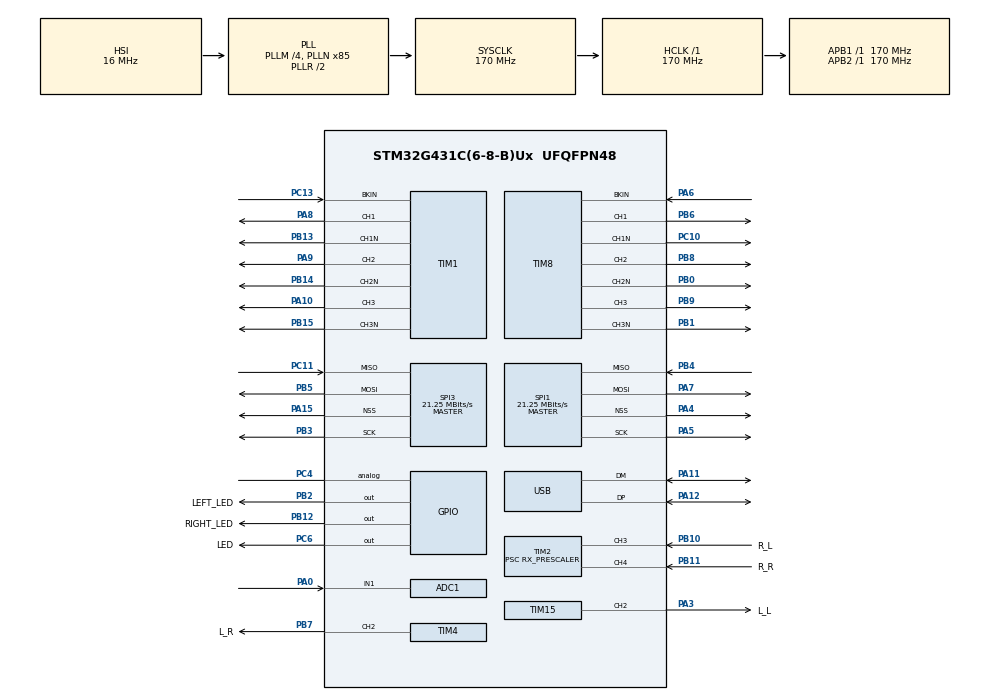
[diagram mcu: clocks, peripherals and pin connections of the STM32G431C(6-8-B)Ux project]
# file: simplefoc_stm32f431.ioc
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ADC1.Channel-2\#ChannelRegularConversion=ADC_CHANNEL_1
ADC1.NbrOfConversionFlag=1
ADC1.OffsetNumber-2\#ChannelRegularConversion=ADC_OFFSET_NONE
ADC1.Rank-2\#ChannelRegularConversion=1
ADC1.SamplingTime-2\#ChannelRegularConversion=ADC_SAMPLETIME_2CYCLES_5
ADC1.master=1
Mcu.Family=STM32G4
Mcu.Name=STM32G431C(6-8-B)Ux
Mcu.Package=UFQFPN48
Mcu.UserConstants=RX_COUNT_PERIOD,65535;PWM_FREQUENCY,20000;RX_PRESCALER,7;PWM_COUNT_PERIOD,(TIM_CLK_MHz*1000000/PWM_FREQUENCY/(PWM_PRESCALER + 1)/2-1);MOS_DEADTIME,30;TIM_CLK_MHz,170;PWM_PRESCALER,0;TX_COUNT_PERIOD,(TIM_CLK_MHz*1000000/TX_FREQUENCY/(TX_PRESCALER + 1)-1);TX_PRESCALER,170-1;TX_FREQUENCY,500;ISR_PRESCALER,170-1;ISR_COUNT_PERIOD,(TIM_CLK_MHz*1000000/ISR_FREQUENCY/(ISR_PRESCALER + 1)-1);ISR_FREQUENCY,1000
NVIC.PriorityGroup=NVIC_PRIORITYGROUP_4
NVIC.SPI1_IRQn=true\:0\:0\:false\:false\:true\:true\:true\:true
NVIC.TIM1_UP_TIM16_IRQn=true\:0\:0\:false\:false\:true\:true\:true\:true
NVIC.TIM2_IRQn=true\:0\:0\:false\:false\:true\:true\:true\:true
NVIC.TIM6_DAC_IRQn=true\:0\:0\:false\:false\:true\:true\:true\:true
NVIC.TIM8_BRK_IRQn=true\:0\:0\:false\:false\:true\:true\:true\:true
NVIC.TIM8_UP_IRQn=true\:0\:0\:false\:false\:true\:true\:true\:true
NVIC.USB_LP_IRQn=true\:0\:0\:false\:false\:true\:false\:true\:true
PA0.Mode=IN1-Single-Ended
PA0.Signal=ADC1_IN1
PA10.Signal=S_TIM1_CH3
PA11.Mode=Device
PA11.Signal=USB_DM
PA12.Mode=Device
PA12.Signal=USB_DP
PA13.Mode=Serial_Wire
PA13.Signal=SYS_JTMS-SWDIO
PA14.Mode=Serial_Wire
PA14.Signal=SYS_JTCK-SWCLK
PA15.GPIO_PuPd=GPIO_PULLUP
PA15.GPIO_Speed=GPIO_SPEED_FREQ_VERY_HIGH
PA15.Mode=NSS_Signal_Hard_Output
PA15.Signal=SPI3_NSS
PA3.GPIO_Label=L_L
PA3.GPIO_PuPd=GPIO_NOPULL
PA3.Signal=S_TIM15_CH2
PA4.GPIO_PuPd=GPIO_PULLUP
PA4.GPIO_Speed=GPIO_SPEED_FREQ_VERY_HIGH
PA4.Mode=NSS_Signal_Hard_Output
PA4.Signal=SPI1_NSS
PA5.GPIO_Speed=GPIO_SPEED_FREQ_VERY_HIGH
PA5.Mode=Full_Duplex_Master
PA5.Signal=SPI1_SCK
PA6.GPIO_PuPd=GPIO_PULLUP
PA6.Mode=Activate-Break-Input
PA6.Signal=TIM8_BKIN
PA7.GPIO_Speed=GPIO_SPEED_FREQ_VERY_HIGH
PA7.Mode=Full_Duplex_Master
PA7.Signal=SPI1_MOSI
PA8.Signal=S_TIM1_CH1
PA9.Signal=S_TIM1_CH2
PB0.Mode=PWM Generation2 CH2 CH2N
PB0.Signal=TIM8_CH2N
PB1.Mode=PWM Generation3 CH3 CH3N
PB1.Signal=TIM8_CH3N
PB10.GPIO_Label=R_L
PB10.GPIO_PuPd=GPIO_NOPULL
PB10.GPIO_Speed=GPIO_SPEED_FREQ_LOW
PB10.Signal=S_TIM2_CH3
PB11.GPIO_Label=R_R
PB11.GPIO_PuPd=GPIO_NOPULL
PB11.GPIO_Speed=GPIO_SPEED_FREQ_LOW
PB11.Signal=S_TIM2_CH4
PB12.GPIO_Label=RIGHT_LED
PB12.GPIO_PuPd=GPIO_PULLUP
PB12.GPIO_Speed=GPIO_SPEED_FREQ_LOW
PB12.Signal=GPIO_Output
PB13.Mode=PWM Generation1 CH1 CH1N
PB13.Signal=TIM1_CH1N
PB14.Mode=PWM Generation2 CH2 CH2N
PB14.Signal=TIM1_CH2N
PB15.Mode=PWM Generation3 CH3 CH3N
PB15.Signal=TIM1_CH3N
PB2.GPIO_Label=LEFT_LED
PB2.GPIO_PuPd=GPIO_PULLUP
PB2.GPIO_Speed=GPIO_SPEED_FREQ_LOW
PB2.Signal=GPIO_Output
PB3.Mode=Full_Duplex_Master
PB3.Signal=SPI3_SCK
PB4.GPIO_Speed=GPIO_SPEED_FREQ_VERY_HIGH
PB4.Mode=Full_Duplex_Master
PB4.Signal=SPI1_MISO
PB5.GPIO_Speed=GPIO_SPEED_FREQ_VERY_HIGH
PB5.Mode=Full_Duplex_Master
PB5.Signal=SPI3_MOSI
PB6.Signal=S_TIM8_CH1
PB7.GPIO_Label=L_R
PB7.GPIO_PuPd=GPIO_NOPULL
PB7.Signal=S_TIM4_CH2
PB8-BOOT0.Signal=S_TIM8_CH2
PB9.Signal=S_TIM8_CH3
PC10.Mode=PWM Generation1 CH1 CH1N
PC10.Signal=TIM8_CH1N
PC11.Mode=Full_Duplex_Master
PC11.Signal=SPI3_MISO
PC13.GPIO_PuPd=GPIO_PULLUP
PC13.Mode=Activate-Break-Input
PC13.Signal=TIM1_BKIN
PC4.Signal=GPIO_Analog
PC6.GPIO_Label=LED
PC6.GPIO_PuPd=GPIO_PULLUP
PC6.GPIO_Speed=GPIO_SPEED_FREQ_LOW
PC6.PinState=GPIO_PIN_SET
PC6.Signal=GPIO_Output
PF0-OSC_IN.Mode=HSE-External-Oscillator
PF0-OSC_IN.Signal=RCC_OSC_IN
PF1-OSC_OUT.Mode=HSE-External-Oscillator
PF1-OSC_OUT.Signal=RCC_OSC_OUT
ProjectManager.HeapSize=0x200
ProjectManager.StackSize=0x400
ProjectManager.TargetToolchain=CMake
RCC.ADC12Freq_Value=170000000
RCC.AHBFreq_Value=170000000
RCC.APB1Freq_Value=170000000
RCC.APB1TimFreq_Value=170000000
RCC.APB2Freq_Value=170000000
RCC.APB2TimFreq_Value=170000000
RCC.CK48CLockSelection=RCC_USBCLKSOURCE_HSI48
RCC.CortexFreq_Value=170000000
RCC.EXTERNAL_CLOCK_VALUE=12288000
RCC.HCLKFreq_Value=170000000
RCC.HSE_VALUE=8000000
RCC.HSI48_VALUE=48000000
RCC.HSI_VALUE=16000000
RCC.LSE_VALUE=32768
RCC.PLLM=RCC_PLLM_DIV4
RCC.PLLN=85
RCC.PLLQ=RCC_PLLQ_DIV4
RCC.SYSCLKFreq_VALUE=170000000
RCC.SYSCLKSource=RCC_SYSCLKSOURCE_PLLCLK
RCC.USBFreq_Value=48000000
RCC.VCOOutputFreq_Value=340000000
SH.S_TIM15_CH2.0=TIM15_CH2,PWM Generation2 CH2
SH.S_TIM1_CH1.0=TIM1_CH1,PWM Generation1 CH1 CH1N
SH.S_TIM1_CH2.0=TIM1_CH2,PWM Generation2 CH2 CH2N
SH.S_TIM1_CH3.0=TIM1_CH3,PWM Generation3 CH3 CH3N
SH.S_TIM2_CH3.0=TIM2_CH3,Input_Capture3_from_TI3
SH.S_TIM2_CH4.0=TIM2_CH4,Input_Capture4_from_TI4
SH.S_TIM4_CH2.0=TIM4_CH2,PWM Generation2 CH2
SH.S_TIM8_CH1.0=TIM8_CH1,PWM Generation1 CH1 CH1N
SH.S_TIM8_CH2.0=TIM8_CH2,PWM Generation2 CH2 CH2N
SH.S_TIM8_CH3.0=TIM8_CH3,PWM Generation3 CH3 CH3N
SPI1.BaudRatePrescaler=SPI_BAUDRATEPRESCALER_8
SPI1.CLKPhase=SPI_PHASE_1EDGE
SPI1.CLKPolarity=SPI_POLARITY_LOW
SPI1.CalculateBaudRate=21.25 MBits/s
SPI1.DataSize=SPI_DATASIZE_16BIT
SPI1.Direction=SPI_DIRECTION_2LINES
SPI1.FirstBit=SPI_FIRSTBIT_MSB
SPI1.Mode=SPI_MODE_MASTER
SPI1.VirtualNSS=VM_NSSHARD
SPI1.VirtualType=VM_MASTER
SPI3.BaudRatePrescaler=SPI_BAUDRATEPRESCALER_8
SPI3.CalculateBaudRate=21.25 MBits/s
SPI3.DataSize=SPI_DATASIZE_16BIT
SPI3.Direction=SPI_DIRECTION_2LINES
SPI3.Mode=SPI_MODE_MASTER
SPI3.VirtualNSS=VM_NSSHARD
SPI3.VirtualType=VM_MASTER
STMicroelectronics.X-CUBE-ALGOBUILD.1.4.0.LibraryCcDSPOoLibraryJjDSPOoLibrary=true
TIM1.AutomaticOutput=TIM_AUTOMATICOUTPUT_ENABLE
TIM1.BreakState=TIM_BREAK_ENABLE
TIM1.Channel-PWM\ Generation1\ CH1\ CH1N=TIM_CHANNEL_1
TIM1.Channel-PWM\ Generation2\ CH2\ CH2N=TIM_CHANNEL_2
TIM1.Channel-PWM\ Generation3\ CH3\ CH3N=TIM_CHANNEL_3
TIM1.Channel-PWM\ Generation4\ No\ Output=TIM_CHANNEL_4
TIM1.ClockDivision=TIM_CLOCKDIVISION_DIV2
TIM1.CounterMode=TIM_COUNTERMODE_CENTERALIGNED1
TIM1.DeadTime=MOS_DEADTIME
TIM1.DeadTimePreload=ENABLE
TIM1.LockLevel=TIM_LOCKLEVEL_1
TIM1.OCMode_PWM-PWM\ Generation4\ No\ Output=TIM_OCMODE_PWM2
TIM1.OCNPolarity_1=TIM_OCNPOLARITY_HIGH
TIM1.OCNPolarity_2=TIM_OCNPOLARITY_HIGH
TIM1.OCNPolarity_3=TIM_OCNPOLARITY_HIGH
TIM1.OffStateIDLEMode=TIM_OSSI_ENABLE
TIM1.OffStateRunMode=TIM_OSSR_ENABLE
TIM1.PeriodNoDither=PWM_COUNT_PERIOD
TIM1.Prescaler=PWM_PRESCALER
TIM1.PulseNoDither_4=8000-2
TIM1.TIM_MasterOutputTrigger=TIM_TRGO_OC4REF
TIM15.Channel-PWM\ Generation2\ CH2=TIM_CHANNEL_2
TIM15.PeriodNoDither=TX_COUNT_PERIOD
TIM15.Prescaler=TX_PRESCALER
TIM2.Channel-Input_Capture3_from_TI3=TIM_CHANNEL_3
TIM2.Channel-Input_Capture4_from_TI4=TIM_CHANNEL_4
TIM2.PeriodNoDither=RX_COUNT_PERIOD
TIM2.Prescaler=RX_PRESCALER
TIM4.Channel-PWM\ Generation2\ CH2=TIM_CHANNEL_2
TIM4.PeriodNoDither=TX_COUNT_PERIOD
TIM4.Prescaler=TX_PRESCALER
TIM6.PeriodNoDither=ISR_COUNT_PERIOD
TIM6.Prescaler=ISR_PRESCALER
TIM8.AutomaticOutput=TIM_AUTOMATICOUTPUT_ENABLE
TIM8.BreakState=TIM_BREAK_ENABLE
TIM8.Channel-PWM\ Generation1\ CH1\ CH1N=TIM_CHANNEL_1
TIM8.Channel-PWM\ Generation2\ CH2\ CH2N=TIM_CHANNEL_2
TIM8.Channel-PWM\ Generation3\ CH3\ CH3N=TIM_CHANNEL_3
TIM8.Channel-PWM\ Generation4\ No\ Output=TIM_CHANNEL_4
TIM8.ClockDivision=TIM_CLOCKDIVISION_DIV2
TIM8.CounterMode=TIM_COUNTERMODE_CENTERALIGNED1
TIM8.DeadTime=MOS_DEADTIME
TIM8.DeadTimePreload=ENABLE
TIM8.LockLevel=TIM_LOCKLEVEL_1
TIM8.OCMode_PWM-PWM\ Generation4\ No\ Output=TIM_OCMODE_PWM2
TIM8.OCNPolarity_1=TIM_OCNPOLARITY_HIGH
TIM8.OCNPolarity_2=TIM_OCNPOLARITY_HIGH
TIM8.OCNPolarity_3=TIM_OCNPOLARITY_HIGH
TIM8.OffStateIDLEMode=TIM_OSSI_ENABLE
TIM8.OffStateRunMode=TIM_OSSR_ENABLE
TIM8.PeriodNoDither=PWM_COUNT_PERIOD
TIM8.Prescaler=PWM_PRESCALER
TIM8.PulseNoDither_4=8000-2
TIM8.TIM_MasterOutputTrigger=TIM_TRGO_OC4REF
USB_DEVICE.CLASS_NAME_FS=CDC
USB_DEVICE.VirtualMode=Cdc
USB_DEVICE.VirtualModeFS=Cdc_FS
VP_STMicroelectronics.X-CUBE-ALGOBUILD_VS_DSPOoLibraryJjLibrary_1.4.0_1.4.0.Mode=DSPOoLibraryJjLibrary
VP_SYS_VS_DBSignals.Mode=DisableDeadBatterySignals
VP_TIM1_VS_no_output4.Mode=PWM Generation4 No Output
VP_TIM2_VS_ClockSourceINT.Mode=Internal
VP_TIM6_VS_ClockSourceINT.Mode=Enable_Timer
VP_TIM8_VS_no_output4.Mode=PWM Generation4 No Output
VP_USB_DEVICE_VS_USB_DEVICE_CDC_FS.Mode=CDC_FS
board=custom

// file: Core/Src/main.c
/* USER CODE BEGIN Header */
/**
  ******************************************************************************
  * @file           : main.c
  * @brief          : Main program body
  ******************************************************************************
  * @attention
  *
  * Copyright (c) 2025 STMicroelectronics.
  * All rights reserved.
  *
  * This software is licensed under terms that can be found in the LICENSE file
  * in the root directory of this software component.
  * If no LICENSE file comes with this software, it is provided AS-IS.
  *
  ******************************************************************************
  */
/* USER CODE END Header */
#include "main.h"
#include "adc.h"
#include "spi.h"
#include "tim.h"
#include "usb_device.h"
#include "gpio.h"

/* USER CODE BEGIN Includes */
#include <tgmath.h>

#include "fast_foc.h"
#include "usbd_cdc_if.h"
#include "isr.h"
/* USER CODE END Includes */

void SystemClock_Config(void);

/* USER CODE BEGIN 0 */

uint16_t fake_encoder = 0;
uint16_t encoder_send = 0xffff;
/* USER CODE END 0 */

int main(void)
{

  /* MCU Configuration--------------------------------------------------------*/

  /* Reset of all peripherals, Initializes the Flash interface and the Systick. */
  HAL_Init();

  /* Configure the system clock */
  SystemClock_Config();

  /* Initialize all configured peripherals */
  MX_GPIO_Init();
  MX_TIM1_Init();
  MX_SPI1_Init();
  MX_SPI3_Init();
  MX_TIM8_Init();
  MX_USB_Device_Init();
  MX_ADC1_Init();
  MX_TIM2_Init();
  MX_TIM4_Init();
  MX_TIM15_Init();
  MX_TIM6_Init();
  /* USER CODE BEGIN 2 */

  mos_init(&htim1);
  mos_init(&htim8);

  // foc_init(&foc_L, &htim1);
  // foc_init(&foc_R, &htim8);

  foc_control_fast_init(&htim1, &motor_left_foc_driver, 16383, PWM_COUNT_PERIOD, 10, 1030, -1, FOC_TRACTION_ANGLE, FOC_PREACT_ANGLE);
  foc_control_fast_init(&htim8, &motor_right_foc_driver, 16383, PWM_COUNT_PERIOD, 10, 1370, -1, FOC_TRACTION_ANGLE, FOC_PREACT_ANGLE);

  HAL_TIM_Base_Start_IT(&htim1);
  HAL_TIM_Base_Start_IT(&htim8);

  HAL_TIM_Base_Start_IT(&htim6);

  HAL_TIM_PWM_Start(&htim15,TIM_CHANNEL_2);
  HAL_TIM_PWM_Start(&htim4,TIM_CHANNEL_2);

  HAL_TIM_IC_Start_IT(&htim2, TIM_CHANNEL_3);
  HAL_TIM_IC_Start_IT(&htim2, TIM_CHANNEL_4);

  /* USER CODE END 2 */

  /* Infinite loop */
  /* USER CODE BEGIN WHILE */
  __HAL_TIM_SET_COMPARE(&htim15, TIM_CHANNEL_2, TX_COUNT_PERIOD / 2);  // L_TX
  __HAL_TIM_SET_COMPARE(&htim4, TIM_CHANNEL_2, TX_COUNT_PERIOD / 2);  // R_TX
  while (1) {
    /* USER CODE END WHILE */

    /* USER CODE BEGIN 3 */

    HAL_GPIO_TogglePin(LED_GPIO_Port, LED_Pin);

    // printf("%d,%d,%d,%d,%d,%d,%d,%d,%d,%d,%d,%d,%d,%d,%d\r\n",
    //        motor_left_foc_driver.ouput_duty[0], motor_left_foc_driver.ouput_duty[1],
    //        motor_left_foc_driver.ouput_duty[2],
    //        motor_right_foc_driver.ouput_duty[0], motor_right_foc_driver.ouput_duty[1],
    //        motor_right_foc_driver.ouput_duty[2],
    //        fake_encoder,  (int16_t)motor_left_foc_driver.encoder_now_data,  (int16_t)motor_right_foc_driver.encoder_now_data,
    //        (int16_t)motor_left_foc_driver.rotate, (int16_t)motor_right_foc_driver.rotate,
    //        (int16_t)motor_left_foc_driver.speed_raw, (int16_t)motor_right_foc_driver.speed_raw,
    //        (int16_t)motor_left_foc_driver.speed_filtered, (int16_t)motor_right_foc_driver.speed_filtered
    //
    //        // fake_encoder, read_left_encoder(), read_right_encoder()
    // );
    // if (L_RX_capture.capture_end_flag == 1 && R_RX_capture.capture_end_flag == 1) {
    // PWM_Capture_Read_And_Clear(&L_RX_capture);
    // PWM_Capture_Read_And_Clear(&R_RX_capture);
      printf("%ld, %ld, %ld, %ld, %ld, %ld\n", (int32_t)L_RX_capture.freq, (int32_t)round(L_RX_capture.duty * 1000.f + 0.5f),  (int32_t)R_RX_capture.freq, (int32_t)round(R_RX_capture.duty * 1000.f + 0.5f), L_RX_capture.high_val, R_RX_capture.high_val);

    // L_RX_capture.capture_end_flag = 0;
    // R_RX_capture.capture_end_flag = 0;
    // }
    // HAL_Delay(1);
  }
  /* USER CODE END 3 */
}

void SystemClock_Config(void)
{
  RCC_OscInitTypeDef RCC_OscInitStruct = {0};
  RCC_ClkInitTypeDef RCC_ClkInitStruct = {0};

  /** Configure the main internal regulator output voltage
  */
  HAL_PWREx_ControlVoltageScaling(PWR_REGULATOR_VOLTAGE_SCALE1_BOOST);

  /** Initializes the RCC Oscillators according to the specified parameters
  * in the RCC_OscInitTypeDef structure.
  */
  RCC_OscInitStruct.OscillatorType = RCC_OSCILLATORTYPE_HSI|RCC_OSCILLATORTYPE_HSI48;
  RCC_OscInitStruct.HSIState = RCC_HSI_ON;
  RCC_OscInitStruct.HSICalibrationValue = RCC_HSICALIBRATION_DEFAULT;
  RCC_OscInitStruct.HSI48State = RCC_HSI48_ON;
  RCC_OscInitStruct.PLL.PLLState = RCC_PLL_ON;
  RCC_OscInitStruct.PLL.PLLSource = RCC_PLLSOURCE_HSI;
  RCC_OscInitStruct.PLL.PLLM = RCC_PLLM_DIV4;
  RCC_OscInitStruct.PLL.PLLN = 85;
  RCC_OscInitStruct.PLL.PLLP = RCC_PLLP_DIV2;
  RCC_OscInitStruct.PLL.PLLQ = RCC_PLLQ_DIV4;
  RCC_OscInitStruct.PLL.PLLR = RCC_PLLR_DIV2;
  if (HAL_RCC_OscConfig(&RCC_OscInitStruct) != HAL_OK)
  {
    Error_Handler();
  }

  /** Initializes the CPU, AHB and APB buses clocks
  */
  RCC_ClkInitStruct.ClockType = RCC_CLOCKTYPE_HCLK|RCC_CLOCKTYPE_SYSCLK
                              |RCC_CLOCKTYPE_PCLK1|RCC_CLOCKTYPE_PCLK2;
  RCC_ClkInitStruct.SYSCLKSource = RCC_SYSCLKSOURCE_PLLCLK;
  RCC_ClkInitStruct.AHBCLKDivider = RCC_SYSCLK_DIV1;
  RCC_ClkInitStruct.APB1CLKDivider = RCC_HCLK_DIV1;
  RCC_ClkInitStruct.APB2CLKDivider = RCC_HCLK_DIV1;

  if (HAL_RCC_ClockConfig(&RCC_ClkInitStruct, FLASH_LATENCY_4) != HAL_OK)
  {
    Error_Handler();
  }
}

/* USER CODE BEGIN 4 */

int _write(int file, char *ptr, int len) {
  CDC_Transmit_FS(ptr, len);
  // static uint8_t rc = USBD_OK;
  //
  // do {
  //   rc = CDC_Transmit_FS(ptr, len);
  // } while (USBD_BUSY == rc);
  //
  // if (USBD_FAIL == rc) {
  //   /// NOTE: Should never reach here.
  //   return 0;
  // }
  return len;
}

/* USER CODE END 4 */

void Error_Handler(void)
{
  __disable_irq();
  while (1) {
  }
}
